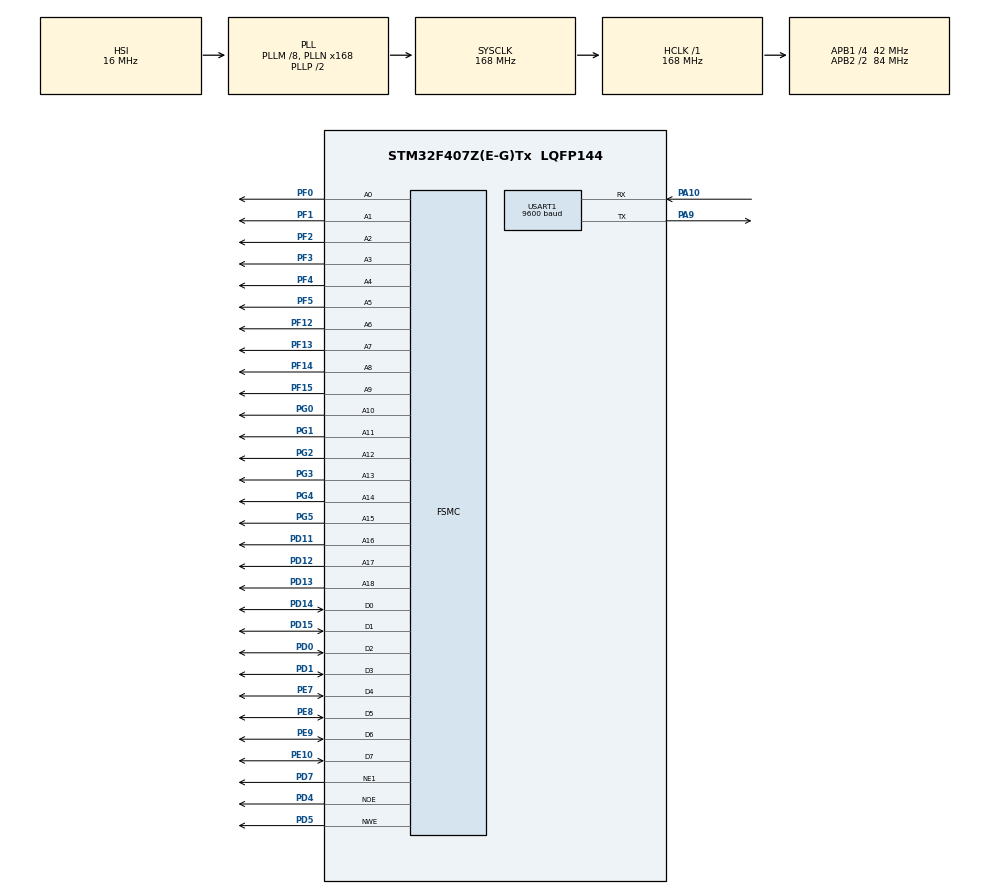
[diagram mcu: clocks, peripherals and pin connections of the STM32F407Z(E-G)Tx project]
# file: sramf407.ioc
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FSMC.AddressSetupTime1=0
FSMC.BusTurnAroundDuration1=1
FSMC.DataSetupTime1=2
FSMC.WriteOperation1=FSMC_WRITE_OPERATION_ENABLE
Mcu.Family=STM32F4
Mcu.Name=STM32F407Z(E-G)Tx
Mcu.Package=LQFP144
NVIC.PriorityGroup=NVIC_PRIORITYGROUP_4
PA10.Mode=Asynchronous
PA10.Signal=USART1_RX
PA13.Mode=Serial_Wire
PA13.Signal=SYS_JTMS-SWDIO
PA14.Mode=Serial_Wire
PA14.Signal=SYS_JTCK-SWCLK
PA9.Mode=Asynchronous
PA9.Signal=USART1_TX
PC14-OSC32_IN.Mode=LSE-External-Oscillator
PC14-OSC32_IN.Signal=RCC_OSC32_IN
PC15-OSC32_OUT.Mode=LSE-External-Oscillator
PC15-OSC32_OUT.Signal=RCC_OSC32_OUT
PD0.Signal=FSMC_D2_DA2
PD1.Signal=FSMC_D3_DA3
PD11.Signal=FSMC_A16_CLE
PD12.Signal=FSMC_A17_ALE
PD13.Signal=FSMC_A18
PD14.Signal=FSMC_D0_DA0
PD15.Signal=FSMC_D1_DA1
PD4.Signal=FSMC_NOE
PD5.Signal=FSMC_NWE
PD7.Mode=NorPsramChipSelect1_1
PD7.Signal=FSMC_NE1
PE10.Signal=FSMC_D7_DA7
PE7.Signal=FSMC_D4_DA4
PE8.Signal=FSMC_D5_DA5
PE9.Signal=FSMC_D6_DA6
PF0.Signal=FSMC_A0
PF1.Signal=FSMC_A1
PF12.Signal=FSMC_A6
PF13.Signal=FSMC_A7
PF14.Signal=FSMC_A8
PF15.Signal=FSMC_A9
PF2.Signal=FSMC_A2
PF3.Signal=FSMC_A3
PF4.Signal=FSMC_A4
PF5.Signal=FSMC_A5
PG0.Signal=FSMC_A10
PG1.Signal=FSMC_A11
PG2.Signal=FSMC_A12
PG3.Signal=FSMC_A13
PG4.Signal=FSMC_A14
PG5.Signal=FSMC_A15
ProjectManager.HeapSize=0x200
ProjectManager.StackSize=0x400
ProjectManager.TargetToolchain=STM32CubeIDE
RCC.48MHZClocksFreq_Value=84000000
RCC.AHBFreq_Value=168000000
RCC.APB1CLKDivider=RCC_HCLK_DIV4
RCC.APB1Freq_Value=42000000
RCC.APB1TimFreq_Value=84000000
RCC.APB2CLKDivider=RCC_HCLK_DIV2
RCC.APB2Freq_Value=84000000
RCC.APB2TimFreq_Value=168000000
RCC.CortexFreq_Value=168000000
RCC.HCLKFreq_Value=168000000
RCC.HSE_VALUE=25000000
RCC.HSI_VALUE=16000000
RCC.PLLM=8
RCC.PLLN=168
RCC.SYSCLKFreq_VALUE=168000000
RCC.SYSCLKSource=RCC_SYSCLKSOURCE_PLLCLK
RCC.VCOOutputFreq_Value=336000000
SH.FSMC_A0.0=FSMC_A0,19b-a1
SH.FSMC_A1.0=FSMC_A1,19b-a1
SH.FSMC_A10.0=FSMC_A10,19b-a1
SH.FSMC_A11.0=FSMC_A11,19b-a1
SH.FSMC_A12.0=FSMC_A12,19b-a1
SH.FSMC_A13.0=FSMC_A13,19b-a1
SH.FSMC_A14.0=FSMC_A14,19b-a1
SH.FSMC_A15.0=FSMC_A15,19b-a1
SH.FSMC_A16_CLE.0=FSMC_A16,19b-a1
SH.FSMC_A17_ALE.0=FSMC_A17,19b-a1
SH.FSMC_A18.0=FSMC_A18,19b-a1
SH.FSMC_A2.0=FSMC_A2,19b-a1
SH.FSMC_A3.0=FSMC_A3,19b-a1
SH.FSMC_A4.0=FSMC_A4,19b-a1
SH.FSMC_A5.0=FSMC_A5,19b-a1
SH.FSMC_A6.0=FSMC_A6,19b-a1
SH.FSMC_A7.0=FSMC_A7,19b-a1
SH.FSMC_A8.0=FSMC_A8,19b-a1
SH.FSMC_A9.0=FSMC_A9,19b-a1
SH.FSMC_D0_DA0.0=FSMC_D0,8b-d1
SH.FSMC_D1_DA1.0=FSMC_D1,8b-d1
SH.FSMC_D2_DA2.0=FSMC_D2,8b-d1
SH.FSMC_D3_DA3.0=FSMC_D3,8b-d1
SH.FSMC_D4_DA4.0=FSMC_D4,8b-d1
SH.FSMC_D5_DA5.0=FSMC_D5,8b-d1
SH.FSMC_D6_DA6.0=FSMC_D6,8b-d1
SH.FSMC_D7_DA7.0=FSMC_D7,8b-d1
SH.FSMC_NOE.0=FSMC_NOE,Sram1
SH.FSMC_NWE.0=FSMC_NWE,Sram1
USART1.BaudRate=9600
USART1.VirtualMode=VM_ASYNC
board=custom

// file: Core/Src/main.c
/* USER CODE BEGIN Header */
/**
  ******************************************************************************
  * @file           : main.c
  * @brief          : Main program body
  ******************************************************************************
  * @attention
  *
  * Copyright (c) 2025 STMicroelectronics.
  * All rights reserved.
  *
  * This software is licensed under terms that can be found in the LICENSE file
  * in the root directory of this software component.
  * If no LICENSE file comes with this software, it is provided AS-IS.
  *
  ******************************************************************************
  */
/* USER CODE END Header */
#include "main.h"

/* USER CODE BEGIN Includes */
#include <stdio.h>
#include <string.h>
#include <stdarg.h>
/* USER CODE END Includes */

/* USER CODE BEGIN PD */
#define SRAM_BANK_ADDR ((uint32_t)0x60000000)
#define SRAM_SIZE      0x8000
#define TEST_PATTERN_1 0xEA
/* USER CODE END PD */

UART_HandleTypeDef huart1;

SRAM_HandleTypeDef hsram1;

void SystemClock_Config(void);
static void MX_GPIO_Init(void);
static void MX_FSMC_Init(void);
static void MX_USART1_UART_Init(void);
/* USER CODE BEGIN PFP */
void printmsg(char *format,...);
/* USER CODE END PFP */

/* USER CODE BEGIN 0 */
void test_sram(void) {
    volatile uint8_t *p_sram = (uint8_t *)SRAM_BANK_ADDR;
    uint32_t error_count = 0;
    uint32_t i;

    printmsg("UART1: [SRAM TEST] Bat dau...\r\n");

    // BƯỚC 1: Ghi Pattern vào TOÀN BỘ vùng nhớ
    printmsg("UART1: Dang ghi du lieu (Write All)...\r\n");
    for (i = 0; i < SRAM_SIZE; i++) {
        p_sram[i] = (uint8_t)TEST_PATTERN_1;
    }

    // BƯỚC 2: Đọc lại và so sánh
    for (i = 0; i < SRAM_SIZE; i++) {
        uint8_t data_read = p_sram[i];

        if (data_read != (uint8_t)TEST_PATTERN_1) {
            error_count++;

            if (error_count <= 10) {
                printmsg("Loi tai 0x%08X -> Doc: 0x%02X, Ky vong: 0x%02X\r\n",
                         (unsigned int)(SRAM_BANK_ADDR + i), data_read, TEST_PATTERN_1);
            }
        }
    }

    // BƯỚC 3: Tổng kết
    if (error_count == 0) {
        printmsg("[KET QUA] SRAM PASS. Khong co loi.\r\n");
    } else {
        printmsg("[KET QUA] SRAM FAIL. Tong so loi: %u\r\n", error_count);
        if (error_count > 10) {
            printmsg("UART1: (Da an bot %u loi phia sau)\r\n", error_count - 10);
        }
    }
}

/* USER CODE END 0 */

int main(void)
{

  /* MCU Configuration--------------------------------------------------------*/

  /* Reset of all peripherals, Initializes the Flash interface and the Systick. */
  HAL_Init();

  /* Configure the system clock */
  SystemClock_Config();

  /* Initialize all configured peripherals */
  MX_GPIO_Init();
  MX_FSMC_Init();
  MX_USART1_UART_Init();
  /* USER CODE BEGIN 2 */
  test_sram();
  /* USER CODE END 2 */

  /* Infinite loop */
  while (1)
  {

  }
}

void SystemClock_Config(void)
{
  RCC_OscInitTypeDef RCC_OscInitStruct = {0};
  RCC_ClkInitTypeDef RCC_ClkInitStruct = {0};

  /** Configure the main internal regulator output voltage
  */
  __HAL_RCC_PWR_CLK_ENABLE();
  __HAL_PWR_VOLTAGESCALING_CONFIG(PWR_REGULATOR_VOLTAGE_SCALE1);

  /** Initializes the RCC Oscillators according to the specified parameters
  * in the RCC_OscInitTypeDef structure.
  */
  RCC_OscInitStruct.OscillatorType = RCC_OSCILLATORTYPE_HSI;
  RCC_OscInitStruct.HSIState = RCC_HSI_ON;
  RCC_OscInitStruct.HSICalibrationValue = RCC_HSICALIBRATION_DEFAULT;
  RCC_OscInitStruct.PLL.PLLState = RCC_PLL_ON;
  RCC_OscInitStruct.PLL.PLLSource = RCC_PLLSOURCE_HSI;
  RCC_OscInitStruct.PLL.PLLM = 8;
  RCC_OscInitStruct.PLL.PLLN = 168;
  RCC_OscInitStruct.PLL.PLLP = RCC_PLLP_DIV2;
  RCC_OscInitStruct.PLL.PLLQ = 4;
  if (HAL_RCC_OscConfig(&RCC_OscInitStruct) != HAL_OK)
  {
    Error_Handler();
  }

  /** Initializes the CPU, AHB and APB buses clocks
  */
  RCC_ClkInitStruct.ClockType = RCC_CLOCKTYPE_HCLK|RCC_CLOCKTYPE_SYSCLK
                              |RCC_CLOCKTYPE_PCLK1|RCC_CLOCKTYPE_PCLK2;
  RCC_ClkInitStruct.SYSCLKSource = RCC_SYSCLKSOURCE_PLLCLK;
  RCC_ClkInitStruct.AHBCLKDivider = RCC_SYSCLK_DIV1;
  RCC_ClkInitStruct.APB1CLKDivider = RCC_HCLK_DIV4;
  RCC_ClkInitStruct.APB2CLKDivider = RCC_HCLK_DIV2;

  if (HAL_RCC_ClockConfig(&RCC_ClkInitStruct, FLASH_LATENCY_5) != HAL_OK)
  {
    Error_Handler();
  }
}

static void MX_USART1_UART_Init(void)
{

  huart1.Instance = USART1;
  huart1.Init.BaudRate = 9600;
  huart1.Init.WordLength = UART_WORDLENGTH_8B;
  huart1.Init.StopBits = UART_STOPBITS_1;
  huart1.Init.Parity = UART_PARITY_NONE;
  huart1.Init.Mode = UART_MODE_TX_RX;
  huart1.Init.HwFlowCtl = UART_HWCONTROL_NONE;
  huart1.Init.OverSampling = UART_OVERSAMPLING_16;
  if (HAL_UART_Init(&huart1) != HAL_OK)
  {
    Error_Handler();
  }

}

static void MX_GPIO_Init(void)
{

  /* GPIO Ports Clock Enable */
  __HAL_RCC_GPIOC_CLK_ENABLE();
  __HAL_RCC_GPIOF_CLK_ENABLE();
  __HAL_RCC_GPIOG_CLK_ENABLE();
  __HAL_RCC_GPIOE_CLK_ENABLE();
  __HAL_RCC_GPIOD_CLK_ENABLE();
  __HAL_RCC_GPIOA_CLK_ENABLE();

}

/* FSMC initialization function */
static void MX_FSMC_Init(void)
{

  FSMC_NORSRAM_TimingTypeDef Timing = {0};

  /** Perform the SRAM1 memory initialization sequence
  */
  hsram1.Instance = FSMC_NORSRAM_DEVICE;
  hsram1.Extended = FSMC_NORSRAM_EXTENDED_DEVICE;
  /* hsram1.Init */
  hsram1.Init.NSBank = FSMC_NORSRAM_BANK1;
  hsram1.Init.DataAddressMux = FSMC_DATA_ADDRESS_MUX_DISABLE;
  hsram1.Init.MemoryType = FSMC_MEMORY_TYPE_SRAM;
  hsram1.Init.MemoryDataWidth = FSMC_NORSRAM_MEM_BUS_WIDTH_8;
  hsram1.Init.BurstAccessMode = FSMC_BURST_ACCESS_MODE_DISABLE;
  hsram1.Init.WaitSignalPolarity = FSMC_WAIT_SIGNAL_POLARITY_LOW;
  hsram1.Init.WrapMode = FSMC_WRAP_MODE_DISABLE;
  hsram1.Init.WaitSignalActive = FSMC_WAIT_TIMING_BEFORE_WS;
  hsram1.Init.WriteOperation = FSMC_WRITE_OPERATION_ENABLE;
  hsram1.Init.WaitSignal = FSMC_WAIT_SIGNAL_DISABLE;
  hsram1.Init.ExtendedMode = FSMC_EXTENDED_MODE_DISABLE;
  hsram1.Init.AsynchronousWait = FSMC_ASYNCHRONOUS_WAIT_DISABLE;
  hsram1.Init.WriteBurst = FSMC_WRITE_BURST_DISABLE;
  hsram1.Init.PageSize = FSMC_PAGE_SIZE_NONE;
  /* Timing */
  Timing.AddressSetupTime = 0;
  Timing.AddressHoldTime = 15;
  Timing.DataSetupTime = 2;
  Timing.BusTurnAroundDuration = 1;
  Timing.CLKDivision = 16;
  Timing.DataLatency = 17;
  Timing.AccessMode = FSMC_ACCESS_MODE_A;
  /* ExtTiming */

  if (HAL_SRAM_Init(&hsram1, &Timing, NULL) != HAL_OK)
  {
    Error_Handler( );
  }

}

/* USER CODE BEGIN 4 */
void printmsg(char *format,...)
{
  char str[100];
  va_list args;
  va_start(args, format);
  vsprintf(str, format,args);
  HAL_UART_Transmit(&huart1,(uint8_t *)str, strlen(str),HAL_MAX_DELAY);
  va_end(args);
}
/* USER CODE END 4 */

void Error_Handler(void)
{
  __disable_irq();
  while (1)
  {
  }
}
